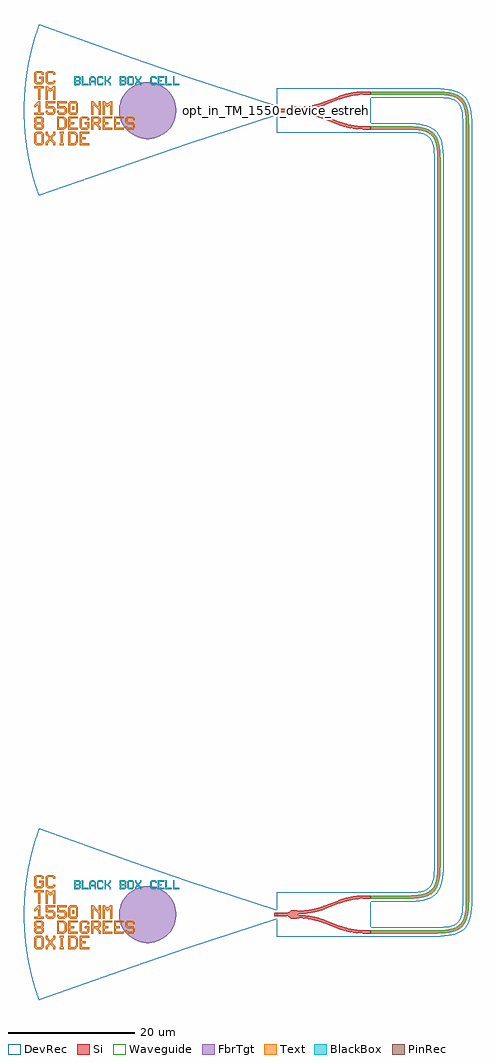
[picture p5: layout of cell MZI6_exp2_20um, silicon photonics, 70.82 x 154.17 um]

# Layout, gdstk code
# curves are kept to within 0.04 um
import gdstk
lib = gdstk.Library(unit=1e-6, precision=1e-09)
def R(c, l, rs):  # rectangles x0, y0, x1, y1
    for r in rs: c.add(gdstk.rectangle(r[:2], r[2:], *l))
def P(c, l, *ps):  # polygons
    for p in ps: c.add(gdstk.Polygon(p, *l))
Si = (1, 0)
PinRec = (1, 10)
Waveguide = (1, 99)
Text = (10, 0)
DevRec = (68, 0)
FbrTgt = (81, 0)
BlackBox = (998, 0)

text = lib.new_cell('TEXT')
P(text, BlackBox, [(13.2,0),(13.2,1.4),(14.2,1.4),(14.2,1.2),(13.4,1.2),(13.4,0.8),(13.8,0.8),(13.8,0.6),(13.4,0.6),(13.4,0.2),(14.2,0.2),(14.2,0)],
  [(9.6,0),(9.6,0.3),(9.9,0.6),(9.9,0.8),(9.6,1.1),(9.6,1.4),(9.8,1.4),(9.8,1.2),(10.1,0.9),(10.4,1.2),(10.4,1.4),(10.6,1.4),(10.6,1.1),(10.3,0.8),(10.3,0.6),(10.6,0.3),(10.6,0),(10.4,0),(10.4,0.2),(10.1,0.5),(9.8,0.2),(9.8,0)],
  [(8.6,0),(8.4,0.2),(8.4,1.2),(8.6,1.4),(9.2,1.4),(9.4,1.2),(9.4,0.7),(9.2,0.7),(9.2,1.1),(9.1,1.2),(8.7,1.2),(8.6,1.1),(8.6,0.3),(8.7,0.2),(9.1,0.2),(9.2,0.3),(9.2,0.7),(9.4,0.7),(9.4,0.2),(9.2,0)],
  [(4.8,0),(4.8,1.4),(5,1.4),(5,0.8),(5.2,0.8),(5.6,1.2),(5.6,1.4),(5.8,1.4),(5.8,1.1),(5.4,0.7),(5.8,0.3),(5.8,0),(5.6,0),(5.6,0.2),(5.2,0.6),(5,0.6),(5,0)],
  [(3.8,0),(3.6,0.2),(3.6,1.2),(3.8,1.4),(4.4,1.4),(4.6,1.2),(4.6,1),(4.4,1),(4.4,1.1),(4.3,1.2),(3.9,1.2),(3.8,1.1),(3.8,0.3),(3.9,0.2),(4.3,0.2),(4.4,0.3),(4.4,0.4),(4.6,0.4),(4.6,0.2),(4.4,0)],
  [(12.2,0),(12,0.2),(12,1.2),(12.2,1.4),(12.8,1.4),(13,1.2),(13,1),(12.8,1),(12.8,1.1),(12.7,1.2),(12.3,1.2),(12.2,1.1),(12.2,0.3),(12.3,0.2),(12.7,0.2),(12.8,0.3),(12.8,0.4),(13,0.4),(13,0.2),(12.8,0)],
  [(2.4,0),(2.4,1.1),(2.7,1.4),(3.1,1.4),(3.3,1.2),(2.8,1.2),(2.6,1),(2.6,0.7),(3.2,0.7),(3.2,1),(3,1.2),(3.3,1.2),(3.4,1.1),(3.4,0),(3.2,0),(3.2,0.5),(2.6,0.5),(2.6,0)],
  [(1.2,0),(1.2,1.4),(1.4,1.4),(1.4,0.2),(2.2,0.2),(2.2,0)],
  [(14.4,0),(14.4,1.4),(14.6,1.4),(14.6,0.2),(15.4,0.2),(15.4,0)],
  [(15.6,0),(15.6,1.4),(15.8,1.4),(15.8,0.2),(16.6,0.2),(16.6,0)],
  [(0,0),(0,1.4),(0.8,1.4),(1,1.2),(0.2,1.2),(0.2,0.8),(0.7,0.8),(0.8,0.9),(0.8,1.1),(0.7,1.2),(1,1.2),(1,0.8),(0.9,0.7),(1,0.6),(0.2,0.6),(0.2,0.2),(0.7,0.2),(0.8,0.3),(0.8,0.5),(0.7,0.6),(1,0.6),(1,0.2),(0.8,0)],
  [(7.2,0),(7.2,1.4),(8,1.4),(8.2,1.2),(7.4,1.2),(7.4,0.8),(7.9,0.8),(8,0.9),(8,1.1),(7.9,1.2),(8.2,1.2),(8.2,0.8),(8.1,0.7),(8.2,0.6),(7.4,0.6),(7.4,0.2),(7.9,0.2),(8,0.3),(8,0.5),(7.9,0.6),(8.2,0.6),(8.2,0.2),(8,0)])

gc_tm_1550_8degoxide_bb = lib.new_cell('GC_TM_1550_8degOxide_BB')
R(gc_tm_1550_8degoxide_bb, Si, [(-0.4,-0.25,0,0.25)])
R(gc_tm_1550_8degoxide_bb, Text, [(-32.313,0.092,-32.013,0.692)])
P(gc_tm_1550_8degoxide_bb, Text, [(-30.813,-3.058),(-31.113,-2.758),(-31.113,-1.258),(-30.813,-0.958),(-29.913,-0.958),(-29.613,-1.258),(-29.613,-1.558),(-29.913,-1.558),(-29.913,-1.408),(-30.063,-1.258),(-30.663,-1.258),(-30.813,-1.408),(-30.813,-2.608),(-30.663,-2.758),(-30.063,-2.758),(-29.913,-2.608),(-29.913,-2.158),(-30.363,-2.158),(-30.363,-1.858),(-29.613,-1.858),(-29.613,-2.758),(-29.913,-3.058)],
  [(-38.013,4.142),(-38.313,4.442),(-38.313,5.942),(-38.013,6.242),(-37.113,6.242),(-36.813,5.942),(-36.813,5.642),(-37.113,5.642),(-37.113,5.792),(-37.263,5.942),(-37.863,5.942),(-38.013,5.792),(-38.013,4.592),(-37.863,4.442),(-37.263,4.442),(-37.113,4.592),(-37.113,5.042),(-37.563,5.042),(-37.563,5.342),(-36.813,5.342),(-36.813,4.442),(-37.113,4.142)],
  [(-36.513,-5.458),(-36.513,-5.008),(-36.063,-4.558),(-36.063,-4.258),(-36.513,-3.808),(-36.513,-3.358),(-36.213,-3.358),(-36.213,-3.658),(-35.763,-4.108),(-35.313,-3.658),(-35.313,-3.358),(-35.013,-3.358),(-35.013,-3.808),(-35.463,-4.258),(-35.463,-4.558),(-35.013,-5.008),(-35.013,-5.458),(-35.313,-5.458),(-35.313,-5.158),(-35.763,-4.708),(-36.213,-5.158),(-36.213,-5.458)],
  [(-37.713,1.742),(-37.713,3.542),(-38.313,3.542),(-38.313,3.842),(-36.813,3.842),(-36.813,3.542),(-37.413,3.542),(-37.413,1.742)],
  [(-38.013,-5.458),(-38.313,-5.158),(-38.313,-3.658),(-38.013,-3.358),(-37.113,-3.358),(-36.813,-3.658),(-36.813,-4.408),(-37.113,-4.408),(-37.113,-3.808),(-37.263,-3.658),(-37.863,-3.658),(-38.013,-3.808),(-38.013,-5.008),(-37.863,-5.158),(-37.263,-5.158),(-37.113,-5.008),(-37.113,-4.408),(-36.813,-4.408),(-36.813,-5.158),(-37.113,-5.458)],
  [(-31.113,-5.458),(-31.113,-3.358),(-29.613,-3.358),(-29.613,-3.658),(-30.813,-3.658),(-30.813,-4.258),(-30.213,-4.258),(-30.213,-4.558),(-30.813,-4.558),(-30.813,-5.158),(-29.613,-5.158),(-29.613,-5.458)],
  [(-32.913,-3.058),(-32.913,-0.958),(-31.413,-0.958),(-31.413,-1.258),(-32.613,-1.258),(-32.613,-1.858),(-32.013,-1.858),(-32.013,-2.158),(-32.613,-2.158),(-32.613,-2.758),(-31.413,-2.758),(-31.413,-3.058)],
  [(-27.513,-3.058),(-27.513,-0.958),(-26.013,-0.958),(-26.013,-1.258),(-27.213,-1.258),(-27.213,-1.858),(-26.613,-1.858),(-26.613,-2.158),(-27.213,-2.158),(-27.213,-2.758),(-26.013,-2.758),(-26.013,-3.058)],
  [(-25.713,-3.058),(-25.713,-0.958),(-24.213,-0.958),(-24.213,-1.258),(-25.413,-1.258),(-25.413,-1.858),(-24.813,-1.858),(-24.813,-2.158),(-25.413,-2.158),(-25.413,-2.758),(-24.213,-2.758),(-24.213,-3.058)],
  [(-29.313,-0.658),(-29.313,1.442),(-29.013,1.442),(-28.263,0.692),(-28.113,0.692),(-28.113,1.442),(-27.813,1.442),(-27.813,-0.658),(-28.113,-0.658),(-28.113,0.092),(-28.863,0.842),(-29.013,0.842),(-29.013,-0.658)],
  [(-34.263,-5.458),(-34.263,-5.158),(-34.113,-5.158),(-34.113,-3.658),(-34.263,-3.658),(-34.263,-3.358),(-33.663,-3.358),(-33.663,-3.658),(-33.813,-3.658),(-33.813,-5.158),(-33.663,-5.158),(-33.663,-5.458)],
  [(-36.213,4.142),(-36.513,4.442),(-36.513,5.942),(-36.213,6.242),(-35.313,6.242),(-35.013,5.942),(-35.013,5.642),(-35.313,5.642),(-35.313,5.792),(-35.463,5.942),(-36.063,5.942),(-36.213,5.792),(-36.213,4.592),(-36.063,4.442),(-35.463,4.442),(-35.313,4.592),(-35.313,4.742),(-35.013,4.742),(-35.013,4.442),(-35.313,4.142)],
  [(-27.513,-0.658),(-27.513,1.442),(-27.213,1.442),(-26.913,1.142),(-26.613,1.142),(-26.313,1.442),(-26.013,1.442),(-26.013,-0.658),(-26.313,-0.658),(-26.313,0.842),(-26.463,0.842),(-26.763,0.542),(-27.063,0.842),(-27.213,0.842),(-27.213,-0.658)],
  [(-36.513,1.742),(-36.513,3.842),(-36.213,3.842),(-35.913,3.542),(-35.613,3.542),(-35.313,3.842),(-35.013,3.842),(-35.013,1.742),(-35.313,1.742),(-35.313,3.242),(-35.463,3.242),(-35.763,2.942),(-36.063,3.242),(-36.213,3.242),(-36.213,1.742)],
  [(-29.313,-3.058),(-29.313,-0.958),(-28.113,-0.958),(-27.813,-1.258),(-29.013,-1.258),(-29.013,-1.858),(-28.263,-1.858),(-28.113,-1.708),(-28.113,-1.408),(-28.263,-1.258),(-27.813,-1.258),(-27.813,-1.858),(-28.113,-2.158),(-28.113,-2.308),(-27.813,-2.608),(-27.813,-3.058),(-28.113,-3.058),(-28.113,-2.758),(-28.713,-2.158),(-29.013,-2.158),(-29.013,-3.058)],
  [(-32.613,-0.658),(-32.913,-0.358),(-32.913,1.142),(-32.613,1.442),(-31.713,1.442),(-31.413,1.142),(-32.463,1.142),(-32.613,0.992),(-32.613,-0.208),(-32.463,-0.358),(-31.863,-0.358),(-31.713,-0.208),(-31.713,0.992),(-31.863,1.142),(-31.413,1.142),(-31.413,-0.358),(-31.713,-0.658)],
  [(-38.013,-3.058),(-38.313,-2.758),(-38.313,-2.158),(-38.163,-2.008),(-38.313,-1.858),(-38.313,-1.258),(-38.013,-0.958),(-37.113,-0.958),(-36.813,-1.258),(-37.863,-1.258),(-38.013,-1.408),(-38.013,-1.708),(-37.863,-1.858),(-37.263,-1.858),(-37.113,-1.708),(-37.113,-1.408),(-37.263,-1.258),(-36.813,-1.258),(-36.813,-1.858),(-36.963,-2.008),(-36.813,-2.158),(-37.863,-2.158),(-38.013,-2.308),(-38.013,-2.608),(-37.863,-2.758),(-37.263,-2.758),(-37.113,-2.608),(-37.113,-2.308),(-37.263,-2.158),(-36.813,-2.158),(-36.813,-2.758),(-37.113,-3.058)],
  [(-32.913,-5.458),(-32.913,-3.358),(-31.863,-3.358),(-31.563,-3.658),(-32.613,-3.658),(-32.613,-5.158),(-32.013,-5.158),(-31.713,-4.858),(-31.713,-3.958),(-32.013,-3.658),(-31.563,-3.658),(-31.413,-3.808),(-31.413,-5.008),(-31.863,-5.458)],
  [(-34.713,-3.058),(-34.713,-0.958),(-33.663,-0.958),(-33.363,-1.258),(-34.413,-1.258),(-34.413,-2.758),(-33.813,-2.758),(-33.513,-2.458),(-33.513,-1.558),(-33.813,-1.258),(-33.363,-1.258),(-33.213,-1.408),(-33.213,-2.608),(-33.663,-3.058)],
  [(-36.213,-0.658),(-36.513,-0.358),(-36.513,-0.058),(-36.213,-0.058),(-36.213,-0.208),(-36.063,-0.358),(-35.463,-0.358),(-35.313,-0.208),(-35.313,0.242),(-35.463,0.392),(-36.513,0.392),(-36.513,1.442),(-35.013,1.442),(-35.013,1.142),(-36.213,1.142),(-36.213,0.692),(-35.313,0.692),(-35.013,0.392),(-35.013,-0.358),(-35.313,-0.658)],
  [(-34.413,-0.658),(-34.713,-0.358),(-34.713,-0.058),(-34.413,-0.058),(-34.413,-0.208),(-34.263,-0.358),(-33.663,-0.358),(-33.513,-0.208),(-33.513,0.242),(-33.663,0.392),(-34.713,0.392),(-34.713,1.442),(-33.213,1.442),(-33.213,1.142),(-34.413,1.142),(-34.413,0.692),(-33.513,0.692),(-33.213,0.392),(-33.213,-0.358),(-33.513,-0.658)],
  [(-23.613,-3.058),(-23.913,-2.758),(-23.913,-2.458),(-23.613,-2.458),(-23.613,-2.608),(-23.463,-2.758),(-22.863,-2.758),(-22.713,-2.608),(-22.713,-2.308),(-22.863,-2.158),(-23.613,-2.158),(-23.913,-1.858),(-23.913,-1.258),(-23.613,-0.958),(-22.713,-0.958),(-22.413,-1.258),(-22.413,-1.558),(-22.713,-1.558),(-22.713,-1.408),(-22.863,-1.258),(-23.463,-1.258),(-23.613,-1.408),(-23.613,-1.708),(-23.463,-1.858),(-22.713,-1.858),(-22.413,-2.158),(-22.413,-2.758),(-22.713,-3.058)],
  [(-38.313,-0.658),(-38.313,-0.358),(-37.713,-0.358),(-37.713,0.842),(-37.863,0.842),(-38.163,0.542),(-38.313,0.542),(-38.313,0.842),(-37.713,1.442),(-37.413,1.442),(-37.413,-0.358),(-36.813,-0.358),(-36.813,-0.658)])
P(gc_tm_1550_8degoxide_bb, DevRec, [(-37.607,-13.5),(-38.627,-10.245),(-39.378,-6.832),(-39.647,-5.058),(-39.835,-3.274),(-39.969,0.224),(-39.812,3.541),(-39.331,7.097),(-38.557,10.505),(-37.546,13.669),(-22.8,8.353),(-14.109,5.36),(0,0.75),(0,-0.75),(-14.109,-5.36)])
P(gc_tm_1550_8degoxide_bb, FbrTgt, [(-20.621,-4.5),(-21.495,-4.37),(-22.326,-4.073),(-23.084,-3.619),(-23.738,-3.026),(-24.264,-2.316),(-24.642,-1.518),(-24.857,-0.661),(-24.9,0.221),(-24.77,1.095),(-24.473,1.926),(-24.019,2.684),(-23.426,3.338),(-22.716,3.864),(-21.918,4.242),(-21.061,4.457),(-20.179,4.5),(-19.305,4.37),(-18.474,4.073),(-17.716,3.619),(-17.062,3.026),(-16.536,2.316),(-16.158,1.518),(-15.943,0.661),(-15.9,-0.221),(-16.03,-1.095),(-16.327,-1.926),(-16.781,-2.684),(-17.374,-3.338),(-18.084,-3.864),(-18.882,-4.242),(-19.739,-4.457)])
gc_tm_1550_8degoxide_bb.add(gdstk.FlexPath([(-0.01,0),(0.01,0)], 0.5, ends="flush", simple_path=True, layer=1, datatype=10))  # PinRec
gc_tm_1550_8degoxide_bb.add(gdstk.Reference(text, (-32,4)))
gc_tm_1550_8degoxide_bb.add(gdstk.Label('opt1', (0,0), layer=1, texttype=10))
gc_tm_1550_8degoxide_bb.add(gdstk.Label('Component=GC_TM_1550_8degOxide_BB', (-28,-5), layer=68, texttype=0))
gc_tm_1550_8degoxide_bb.add(gdstk.Label('Lumerical_INTERCONNECT_library=Design kits/ebeam', (-29,-7), layer=68, texttype=0))

ebeam_y_1550 = lib.new_cell('ebeam_y_1550')
R(ebeam_y_1550, Si, [(6.5,-3,7.4,-2.5), (-7.4,-0.25,-6,0.25), (6.5,2.5,7.4,3)])
P(ebeam_y_1550, Si, [(6.458,-3),(6.237,-2.997),(6.237,-2.497),(6.5,-2.5),(6.5,-3)],
  [(2.265,-2.21),(0.055,-1.356),(0.235,-0.89),(2.445,-1.744)],
  [(5.033,-2.908),(3.59,-2.634),(2.265,-2.21),(2.445,-1.744),(3.731,-2.154),(5.033,-2.404)],
  [(-0.762,0.555),(-0.762,1.076),(0.055,1.356),(0.235,0.89)],
  [(-5.122,-0.662),(-5.442,-0.374),(-5.808,-0.255),(-6,-0.25),(-6,0.25),(-5.817,0.253),(-5.442,0.374),(-5.122,0.662)],
  [(-4.957,-0.703),(-5.122,-0.662),(-5.122,0.662),(-4.538,0.703),(-4,0.6),(-4,-0.6),(-4.509,-0.701)],
  [(0.055,-1.356),(-0.762,-1.076),(-0.762,-0.555),(0.235,-0.89)],
  [(6.237,2.497),(6.237,2.997),(6.5,3),(6.5,2.5)],
  [(-0.762,-1.076),(-2.334,-0.724),(-4,-0.6),(-4,-0.1),(-2.381,-0.212),(-0.762,-0.555)],
  [(5.033,2.404),(5.033,2.908),(6.237,2.997),(6.237,2.497)],
  [(6.233,-2.997),(5.033,-2.908),(5.033,-2.404),(6.237,-2.497)],
  [(0.235,0.89),(0.055,1.356),(2.265,2.21),(2.445,1.744)],
  [(2.445,1.744),(2.267,2.211),(3.59,2.634),(5.033,2.908),(5.033,2.404),(3.731,2.154)],
  [(-4,0.1),(-4,0.6),(-2.334,0.724),(-0.762,1.076),(-0.762,0.555),(-2.381,0.212)])
R(ebeam_y_1550, DevRec, [(-7.4,-3.5,7.4,3.5)])
ebeam_y_1550.add(gdstk.FlexPath([(7.35,-2.75),(7.45,-2.75)], 0.5, ends="flush", simple_path=True, layer=1, datatype=10))  # PinRec
ebeam_y_1550.add(gdstk.FlexPath([(7.35,2.75),(7.45,2.75)], 0.5, ends="flush", simple_path=True, layer=1, datatype=10))  # PinRec
ebeam_y_1550.add(gdstk.FlexPath([(-7.35,0),(-7.45,0)], 0.5, ends="flush", simple_path=True, layer=1, datatype=10))  # PinRec
ebeam_y_1550.add(gdstk.Label('opt1', (-7.4,0), layer=1, texttype=10))
ebeam_y_1550.add(gdstk.Label('opt3', (7.4,-2.75), layer=1, texttype=10))
ebeam_y_1550.add(gdstk.Label('opt2', (7.4,2.75), layer=1, texttype=10))
ebeam_y_1550.add(gdstk.Label('Lumerical_INTERCONNECT_library=Design kits/ebeam', (-6.86,-2.19), layer=68, texttype=0))
ebeam_y_1550.add(gdstk.Label('Component=ebeam_y_1550', (-6,1.5), layer=68, texttype=0))
ebeam_y_1550.add(gdstk.Label('Ref: Y Zhang, Opt. Express, 21/1, 2013', (-7.5,-1), layer=10, texttype=0))

waveguide = lib.new_cell('Waveguide')
P(waveguide, Si, [(14.8,-3),(14.8,-2.5),(25.53,-2.495),(26.662,-2.428),(27.582,-2.271),(28.196,-2.063),(28.596,-1.843),(28.925,-1.573),(29.196,-1.243),(29.588,-0.362),(29.799,0.865),(29.852,2.25),(29.852,124.75),(29.761,126.479),(29.507,127.615),(29.067,128.418),(28.769,128.716),(28.405,128.96),(27.966,129.156),(27.298,129.335),(26.308,129.462),(25.319,129.499),(14.8,129.5),(14.8,130),(25.323,129.999),(26.533,129.945),(27.551,129.793),(28.269,129.575),(28.982,129.183),(29.453,128.734),(29.812,128.173),(30.107,127.354),(30.257,126.541),(30.342,125.398),(30.352,2.25),(30.297,0.819),(30.025,-0.643),(29.813,-1.172),(29.535,-1.63),(29.185,-2.016),(28.763,-2.33),(28.27,-2.574),(27.706,-2.755),(26.716,-2.926),(25.54,-2.995)])
P(waveguide, Waveguide, [(14.8,-3),(14.8,-2.5),(25.53,-2.495),(26.662,-2.428),(27.582,-2.271),(28.196,-2.063),(28.596,-1.843),(28.925,-1.573),(29.196,-1.243),(29.588,-0.362),(29.799,0.865),(29.852,2.25),(29.852,124.75),(29.761,126.479),(29.507,127.615),(29.067,128.418),(28.769,128.716),(28.405,128.96),(27.966,129.156),(27.298,129.335),(26.308,129.462),(25.319,129.499),(14.8,129.5),(14.8,130),(25.323,129.999),(26.533,129.945),(27.551,129.793),(28.269,129.575),(28.982,129.183),(29.453,128.734),(29.812,128.173),(30.107,127.354),(30.257,126.541),(30.342,125.398),(30.352,2.25),(30.297,0.819),(30.025,-0.643),(29.813,-1.172),(29.535,-1.63),(29.185,-2.016),(28.763,-2.33),(28.27,-2.574),(27.706,-2.755),(26.716,-2.926),(25.54,-2.995)])
P(waveguide, DevRec, [(14.8,-3.5),(14.8,-2),(25.752,-1.989),(26.847,-1.902),(27.678,-1.724),(28.261,-1.464),(28.478,-1.307),(28.817,-0.908),(29.177,0.057),(29.31,1.02),(29.352,2.25),(29.352,124.75),(29.254,126.495),(29.076,127.326),(28.956,127.646),(28.659,128.126),(28.477,128.308),(27.997,128.605),(26.846,128.903),(25.101,129),(14.8,129),(14.8,130.5),(25.103,130.5),(26.452,130.454),(27.611,130.291),(28.611,129.973),(29.451,129.448),(29.799,129.1),(30.09,128.701),(30.506,127.778),(30.74,126.703),(30.841,125.452),(30.852,2.25),(30.806,0.9),(30.643,-0.259),(30.507,-0.777),(30.091,-1.7),(29.452,-2.447),(29.053,-2.738),(28.13,-3.154),(27.055,-3.388),(25.804,-3.489)])
waveguide.add(gdstk.FlexPath([(14.81,-2.75),(14.79,-2.75)], 0.5, ends="flush", simple_path=True, layer=1, datatype=10))  # PinRec
waveguide.add(gdstk.FlexPath([(14.81,129.75),(14.79,129.75)], 0.5, ends="flush", simple_path=True, layer=1, datatype=10))  # PinRec
waveguide.add(gdstk.Label('opt2', (14.8,-2.75), layer=1, texttype=10))
waveguide.add(gdstk.Label('opt1', (14.8,129.75), layer=1, texttype=10))
waveguide.add(gdstk.Label('Length=160.001 (microns)', (14.8,129.15), layer=68, texttype=0))
waveguide.add(gdstk.Label('Spice_param:wg_length=0.000160001 wg_width=5e-07 points="[[14.8,129.75],[30.102,129.75],[30.102,-2.75],[14.8,-2.75]]" radius=5e-06', (14.8,129.75), layer=68, texttype=0))
waveguide.add(gdstk.Label('waveguide_type=Strip TE 1550 nm, w=500 nm', (14.8,129.55), layer=68, texttype=0))
waveguide.add(gdstk.Label('cellName=Waveguide', (14.8,129.95), layer=68, texttype=0))
waveguide.add(gdstk.Label('Component=ebeam_wg_integral_1550', (14.8,129.85), layer=68, texttype=0))
waveguide.add(gdstk.Label('Lumerical_INTERCONNECT_library=Design kits/EBeam', (14.8,129.65), layer=68, texttype=0))

waveguide_3 = lib.new_cell('Waveguide$3')
P(waveguide_3, Si, [(14.8,2.5),(14.8,3),(21.431,3.017),(22.646,3.137),(23.583,3.389),(24.269,3.784),(24.567,4.082),(24.811,4.446),(25.156,5.408),(25.324,6.728),(25.352,119.25),(25.299,120.635),(25.088,121.862),(24.696,122.743),(24.425,123.073),(24.096,123.343),(23.344,123.696),(22.492,123.887),(21.234,123.99),(14.8,124),(14.8,124.5),(21.652,124.472),(22.733,124.354),(23.635,124.125),(24.374,123.759),(24.869,123.332),(25.25,122.793),(25.568,122),(25.758,121.04),(25.843,119.897),(25.824,6.7),(25.644,5.3),(25.477,4.717),(25.249,4.206),(24.684,3.483),(24.262,3.169),(23.769,2.925),(22.732,2.645),(21.453,2.517)])
P(waveguide_3, Waveguide, [(14.8,2.5),(14.8,3),(21.431,3.017),(22.646,3.137),(23.583,3.389),(24.269,3.784),(24.567,4.082),(24.811,4.446),(25.156,5.408),(25.324,6.728),(25.352,119.25),(25.299,120.635),(25.088,121.862),(24.696,122.743),(24.425,123.073),(24.096,123.343),(23.344,123.696),(22.492,123.887),(21.234,123.99),(14.8,124),(14.8,124.5),(21.652,124.472),(22.733,124.354),(23.635,124.125),(24.374,123.759),(24.869,123.332),(25.25,122.793),(25.568,122),(25.758,121.04),(25.843,119.897),(25.824,6.7),(25.644,5.3),(25.477,4.717),(25.249,4.206),(24.684,3.483),(24.262,3.169),(23.769,2.925),(22.732,2.645),(21.453,2.517)])
P(waveguide_3, DevRec, [(14.8,2),(14.8,3.5),(21.251,3.51),(22.346,3.597),(23.497,3.895),(23.977,4.192),(24.159,4.374),(24.456,4.854),(24.676,5.556),(24.809,6.519),(24.852,7.75),(24.852,119.25),(24.81,120.48),(24.677,121.443),(24.317,122.408),(24.16,122.625),(23.761,122.964),(23.178,123.224),(22.347,123.402),(21.252,123.489),(14.8,123.5),(14.8,125),(21.953,124.953),(23.112,124.79),(24.112,124.472),(24.952,123.947),(25.3,123.599),(25.591,123.2),(26.007,122.277),(26.241,121.202),(26.342,119.951),(26.352,7.75),(26.305,6.399),(26.142,5.24),(26.006,4.722),(25.59,3.799),(24.951,3.052),(24.111,2.527),(23.111,2.209),(21.952,2.046)])
waveguide_3.add(gdstk.FlexPath([(14.81,2.75),(14.79,2.75)], 0.5, ends="flush", simple_path=True, layer=1, datatype=10))  # PinRec
waveguide_3.add(gdstk.FlexPath([(14.81,124.25),(14.79,124.25)], 0.5, ends="flush", simple_path=True, layer=1, datatype=10))  # PinRec
waveguide_3.add(gdstk.Label('opt2', (14.8,124.25), layer=1, texttype=10))
waveguide_3.add(gdstk.Label('opt1', (14.8,2.75), layer=1, texttype=10))
waveguide_3.add(gdstk.Label('Length=140.001 (microns)', (14.8,2.15), layer=68, texttype=0))
waveguide_3.add(gdstk.Label('Spice_param:wg_length=0.000140001 wg_width=5e-07 points="[[14.8,2.75],[25.602,2.75],[25.602,124.25],[14.8,124.25]]" radius=5e-06', (14.8,2.75), layer=68, texttype=0))
waveguide_3.add(gdstk.Label('waveguide_type=Strip TE 1550 nm, w=500 nm', (14.8,2.55), layer=68, texttype=0))
waveguide_3.add(gdstk.Label('cellName=Waveguide', (14.8,2.95), layer=68, texttype=0))
waveguide_3.add(gdstk.Label('Component=ebeam_wg_integral_1550', (14.8,2.85), layer=68, texttype=0))
waveguide_3.add(gdstk.Label('Lumerical_INTERCONNECT_library=Design kits/EBeam', (14.8,2.65), layer=68, texttype=0))

mzi6_exp2_20um = lib.new_cell('MZI6_exp2_20um')
mzi6_exp2_20um.add(gdstk.Reference(gc_tm_1550_8degoxide_bb, (39.97,-140.67)))
mzi6_exp2_20um.add(gdstk.Reference(gc_tm_1550_8degoxide_bb, (39.97,-13.67)))
mzi6_exp2_20um.add(gdstk.Reference(ebeam_y_1550, (47.37,-140.67)))
mzi6_exp2_20um.add(gdstk.Reference(ebeam_y_1550, (47.37,-13.67)))
mzi6_exp2_20um.add(gdstk.Reference(waveguide, (39.97,-140.67)))
mzi6_exp2_20um.add(gdstk.Reference(waveguide_3, (39.97,-140.67)))
mzi6_exp2_20um.add(gdstk.Label('opt_in_TM_1550_device_estrehlo_MZI6', (39.97,-13.67), layer=10, texttype=0))

lib.write_gds('MZI6_exp2_20um.gds')
